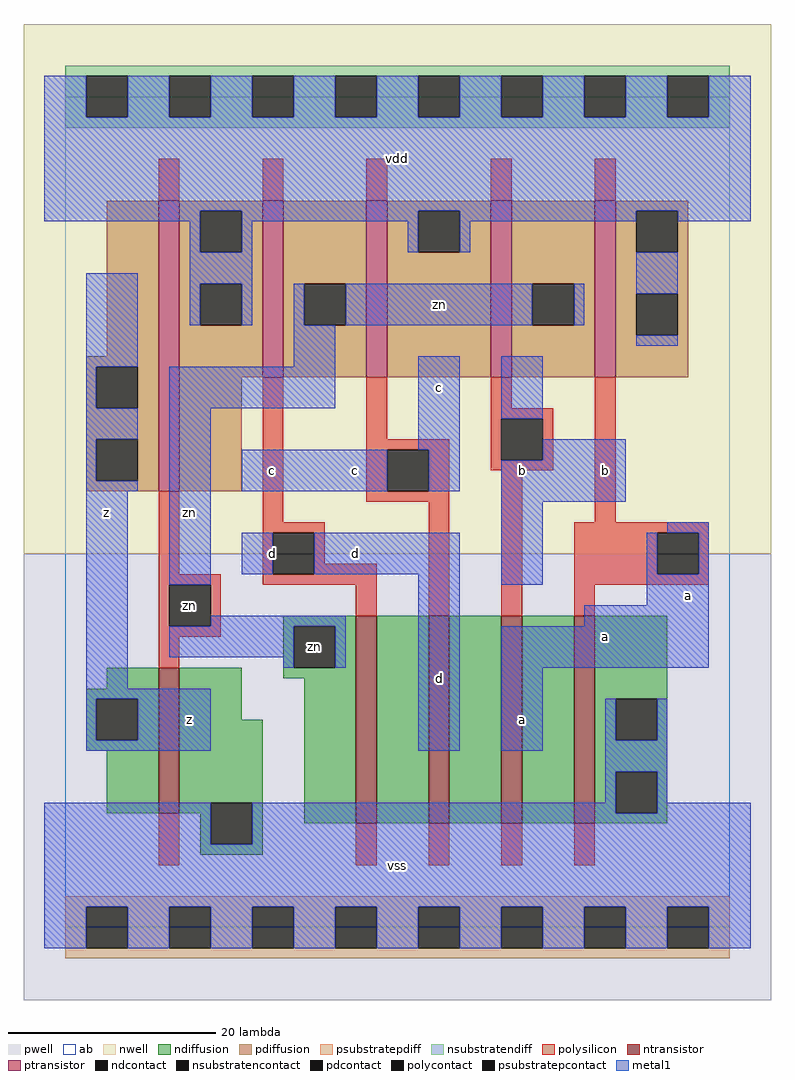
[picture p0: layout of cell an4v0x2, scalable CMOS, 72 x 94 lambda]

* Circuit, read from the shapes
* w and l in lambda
.subckt an4v0x2 a b c d vdd vss z zn
M1 vss zn z vss nfet w=14 l=2
M2 n1 d zn vss nfet w=20 l=2
M3 n2 c n1 vss nfet w=20 l=2
M4 n3 b n2 vss nfet w=20 l=2
M5 vss a n3 vss nfet w=20 l=2
M6 vdd zn z vdd pfet w=28 l=2
M7 zn d vdd vdd pfet w=17 l=2
M8 vdd c zn vdd pfet w=17 l=2
M9 zn b vdd vdd pfet w=17 l=2
M10 vdd a zn vdd pfet w=17 l=2
.ends

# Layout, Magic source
magic
tech scmos
<< ab >>
rect 0 0 64 80
<< pwell >>
rect -4 -7 68 36
<< nwell >>
rect -4 36 68 87
<< polysilicon >>
rect 9 70 11 74
rect 19 70 21 74
rect 29 70 31 74
rect 41 70 43 74
rect 51 70 53 74
rect 9 34 11 42
rect 19 39 21 53
rect 29 47 31 53
rect 41 50 43 53
rect 41 49 47 50
rect 29 46 37 47
rect 29 42 31 46
rect 35 42 37 46
rect 41 45 42 49
rect 46 45 47 49
rect 41 44 47 45
rect 29 41 37 42
rect 19 38 25 39
rect 19 34 20 38
rect 24 35 25 38
rect 24 34 30 35
rect 9 33 15 34
rect 19 33 30 34
rect 9 29 10 33
rect 14 29 15 33
rect 28 30 30 33
rect 35 30 37 41
rect 42 30 44 44
rect 51 39 53 53
rect 49 38 62 39
rect 49 34 57 38
rect 61 34 62 38
rect 49 33 62 34
rect 49 30 51 33
rect 9 28 15 29
rect 9 25 11 28
rect 9 6 11 11
rect 28 6 30 10
rect 35 6 37 10
rect 42 6 44 10
rect 49 6 51 10
<< ndiffusion >>
rect 21 29 28 30
rect 21 25 22 29
rect 26 25 28 29
rect 4 23 9 25
rect 2 22 9 23
rect 2 18 3 22
rect 7 18 9 22
rect 2 17 9 18
rect 4 11 9 17
rect 11 20 17 25
rect 21 24 28 25
rect 11 12 19 20
rect 11 11 14 12
rect 13 8 14 11
rect 18 8 19 12
rect 23 10 28 24
rect 30 10 35 30
rect 37 10 42 30
rect 44 10 49 30
rect 51 22 58 30
rect 51 18 53 22
rect 57 18 58 22
rect 51 15 58 18
rect 51 11 53 15
rect 57 11 58 15
rect 51 10 58 11
rect 13 7 19 8
<< pdiffusion >>
rect 4 55 9 70
rect 2 54 9 55
rect 2 50 3 54
rect 7 50 9 54
rect 2 47 9 50
rect 2 43 3 47
rect 7 43 9 47
rect 2 42 9 43
rect 11 69 19 70
rect 11 65 13 69
rect 17 65 19 69
rect 11 62 19 65
rect 11 58 13 62
rect 17 58 19 62
rect 11 53 19 58
rect 21 62 29 70
rect 21 58 23 62
rect 27 58 29 62
rect 21 53 29 58
rect 31 69 41 70
rect 31 65 34 69
rect 38 65 41 69
rect 31 53 41 65
rect 43 62 51 70
rect 43 58 45 62
rect 49 58 51 62
rect 43 53 51 58
rect 53 69 60 70
rect 53 65 55 69
rect 59 65 60 69
rect 53 61 60 65
rect 53 57 55 61
rect 59 57 60 61
rect 53 53 60 57
rect 11 42 17 53
<< metal1 >>
rect -2 78 2 82
rect 6 78 10 82
rect 14 78 18 82
rect 22 78 26 82
rect 30 78 34 82
rect 38 78 42 82
rect 46 78 50 82
rect 54 78 58 82
rect 62 78 66 82
rect -2 69 66 78
rect -2 68 13 69
rect 12 65 13 68
rect 17 68 34 69
rect 17 65 18 68
rect 33 65 34 68
rect 38 68 55 69
rect 38 65 39 68
rect 59 68 66 69
rect 2 54 7 63
rect 12 62 18 65
rect 12 58 13 62
rect 17 58 18 62
rect 22 58 23 62
rect 27 58 45 62
rect 49 58 50 62
rect 55 61 59 65
rect 22 54 26 58
rect 55 56 59 57
rect 2 50 3 54
rect 2 47 7 50
rect 2 43 3 47
rect 2 42 7 43
rect 10 50 26 54
rect 2 23 6 42
rect 10 33 14 50
rect 34 46 38 55
rect 17 42 31 46
rect 35 42 38 46
rect 42 49 46 55
rect 46 45 54 47
rect 42 41 54 45
rect 17 34 20 38
rect 24 34 38 38
rect 14 29 27 30
rect 10 26 22 29
rect 21 25 22 26
rect 26 25 27 29
rect 2 22 14 23
rect 2 18 3 22
rect 7 18 14 22
rect 2 17 14 18
rect 34 17 38 34
rect 42 33 46 41
rect 58 38 62 39
rect 56 34 57 38
rect 61 34 62 38
rect 56 31 62 34
rect 50 29 62 31
rect 42 25 62 29
rect 42 17 46 25
rect 52 18 53 22
rect 57 18 58 22
rect 52 15 58 18
rect 52 12 53 15
rect -2 8 14 12
rect 18 11 53 12
rect 57 12 58 15
rect 57 11 66 12
rect 18 8 66 11
rect -2 2 66 8
rect -2 -2 2 2
rect 6 -2 10 2
rect 14 -2 18 2
rect 22 -2 26 2
rect 30 -2 34 2
rect 38 -2 42 2
rect 46 -2 50 2
rect 54 -2 58 2
rect 62 -2 66 2
<< ntransistor >>
rect 9 11 11 25
rect 28 10 30 30
rect 35 10 37 30
rect 42 10 44 30
rect 49 10 51 30
<< ptransistor >>
rect 9 42 11 70
rect 19 53 21 70
rect 29 53 31 70
rect 41 53 43 70
rect 51 53 53 70
<< polycontact >>
rect 31 42 35 46
rect 42 45 46 49
rect 20 34 24 38
rect 10 29 14 33
rect 57 34 61 38
<< ndcontact >>
rect 22 25 26 29
rect 3 18 7 22
rect 14 8 18 12
rect 53 18 57 22
rect 53 11 57 15
<< pdcontact >>
rect 3 50 7 54
rect 3 43 7 47
rect 13 65 17 69
rect 13 58 17 62
rect 23 58 27 62
rect 34 65 38 69
rect 45 58 49 62
rect 55 65 59 69
rect 55 57 59 61
<< psubstratepcontact >>
rect 2 -2 6 2
rect 10 -2 14 2
rect 18 -2 22 2
rect 26 -2 30 2
rect 34 -2 38 2
rect 42 -2 46 2
rect 50 -2 54 2
rect 58 -2 62 2
<< nsubstratencontact >>
rect 2 78 6 82
rect 10 78 14 82
rect 18 78 22 82
rect 26 78 30 82
rect 34 78 38 82
rect 42 78 46 82
rect 50 78 54 82
rect 58 78 62 82
<< psubstratepdiff >>
rect 0 2 64 3
rect 0 -2 2 2
rect 6 -2 10 2
rect 14 -2 18 2
rect 22 -2 26 2
rect 30 -2 34 2
rect 38 -2 42 2
rect 46 -2 50 2
rect 54 -2 58 2
rect 62 -2 64 2
rect 0 -3 64 -2
<< nsubstratendiff >>
rect 0 82 64 83
rect 0 78 2 82
rect 6 78 10 82
rect 14 78 18 82
rect 22 78 26 82
rect 30 78 34 82
rect 38 78 42 82
rect 46 78 50 82
rect 54 78 58 82
rect 62 78 64 82
rect 0 77 64 78
<< labels >>
rlabel polycontact 12 31 12 31 6 zn
rlabel metal1 4 40 4 40 6 z
rlabel metal1 12 20 12 20 6 z
rlabel metal1 20 44 20 44 6 c
rlabel metal1 20 36 20 36 6 d
rlabel metal1 12 40 12 40 6 zn
rlabel metal1 32 6 32 6 6 vss
rlabel ndcontact 24 27 24 27 6 zn
rlabel metal1 36 24 36 24 6 d
rlabel metal1 28 36 28 36 6 d
rlabel metal1 28 44 28 44 6 c
rlabel metal1 36 52 36 52 6 c
rlabel metal1 32 74 32 74 6 vdd
rlabel metal1 44 20 44 20 6 a
rlabel metal1 44 44 44 44 6 b
rlabel metal1 36 60 36 60 6 zn
rlabel metal1 52 28 52 28 6 a
rlabel metal1 60 32 60 32 6 a
rlabel metal1 52 44 52 44 6 b
<< end >>
